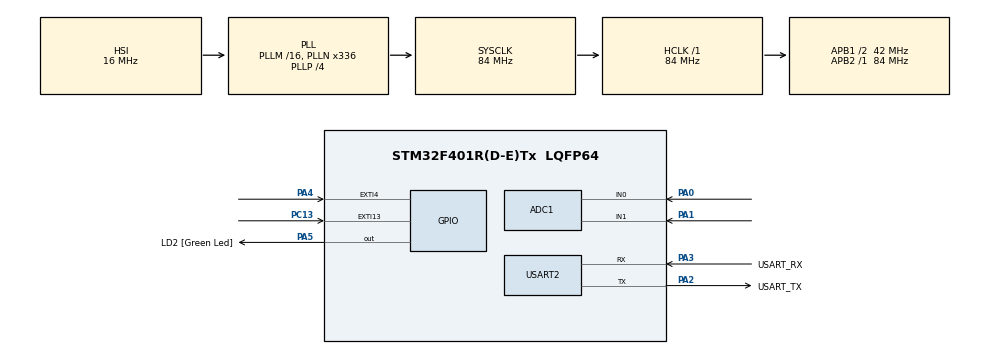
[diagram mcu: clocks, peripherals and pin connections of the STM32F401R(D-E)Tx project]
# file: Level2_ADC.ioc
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ADC1.Channel-0\#ChannelRegularConversion=ADC_CHANNEL_0
ADC1.Channel-1\#ChannelRegularConversion=ADC_CHANNEL_1
ADC1.EOCSelection=ADC_EOC_SEQ_CONV
ADC1.NbrOfConversion=2
ADC1.NbrOfConversionFlag=1
ADC1.Rank-0\#ChannelRegularConversion=1
ADC1.Rank-1\#ChannelRegularConversion=2
ADC1.SamplingTime-0\#ChannelRegularConversion=ADC_SAMPLETIME_3CYCLES
ADC1.SamplingTime-1\#ChannelRegularConversion=ADC_SAMPLETIME_3CYCLES
ADC1.ScanConvMode=ENABLE
ADC1.master=1
Dma.ADC1.0.Direction=DMA_PERIPH_TO_MEMORY
Dma.ADC1.0.FIFOMode=DMA_FIFOMODE_DISABLE
Dma.ADC1.0.Instance=DMA2_Stream0
Dma.ADC1.0.MemDataAlignment=DMA_MDATAALIGN_HALFWORD
Dma.ADC1.0.MemInc=DMA_MINC_ENABLE
Dma.ADC1.0.Mode=DMA_NORMAL
Dma.ADC1.0.PeriphDataAlignment=DMA_PDATAALIGN_HALFWORD
Dma.ADC1.0.PeriphInc=DMA_PINC_DISABLE
Dma.ADC1.0.Priority=DMA_PRIORITY_LOW
Dma.Request0=ADC1
Mcu.Family=STM32F4
Mcu.Name=STM32F401R(D-E)Tx
Mcu.Package=LQFP64
NVIC.DMA2_Stream0_IRQn=true\:0\:0\:false\:false\:true\:false\:true\:true
NVIC.EXTI15_10_IRQn=true\:0\:0\:false\:false\:true\:true\:true\:true
NVIC.EXTI4_IRQn=true\:0\:0\:false\:false\:true\:true\:true\:true
NVIC.PriorityGroup=NVIC_PRIORITYGROUP_0
PA0-WKUP.Signal=ADCx_IN0
PA1.Signal=ADCx_IN1
PA13.GPIO_Label=TMS
PA13.Signal=SYS_JTMS-SWDIO
PA14.GPIO_Label=TCK
PA14.Signal=SYS_JTCK-SWCLK
PA2.GPIO_Label=USART_TX
PA2.GPIO_Mode=GPIO_MODE_AF_PP
PA2.GPIO_PuPd=GPIO_NOPULL
PA2.GPIO_Speed=GPIO_SPEED_FREQ_LOW
PA2.Mode=Asynchronous
PA2.Signal=USART2_TX
PA3.GPIO_Label=USART_RX
PA3.GPIO_Mode=GPIO_MODE_AF_PP
PA3.GPIO_PuPd=GPIO_NOPULL
PA3.GPIO_Speed=GPIO_SPEED_FREQ_LOW
PA3.Mode=Asynchronous
PA3.Signal=USART2_RX
PA4.Signal=GPXTI4
PA5.GPIO_Label=LD2 [Green Led]
PA5.GPIO_Mode=GPIO_MODE_OUTPUT_PP
PA5.GPIO_PuPd=GPIO_NOPULL
PA5.GPIO_Speed=GPIO_SPEED_FREQ_LOW
PA5.Signal=GPIO_Output
PB3.GPIO_Label=SWO
PB3.Signal=SYS_JTDO-SWO
PC13-ANTI_TAMP.Signal=GPXTI13
PC14-OSC32_IN.Signal=RCC_OSC32_IN
PC15-OSC32_OUT.Signal=RCC_OSC32_OUT
PH0\ -\ OSC_IN.Signal=RCC_OSC_IN
PH1\ -\ OSC_OUT.Signal=RCC_OSC_OUT
ProjectManager.HeapSize=0x200
ProjectManager.StackSize=0x400
ProjectManager.TargetToolchain=STM32CubeIDE
RCC.AHBFreq_Value=84000000
RCC.APB1CLKDivider=RCC_HCLK_DIV2
RCC.APB1Freq_Value=42000000
RCC.APB1TimFreq_Value=84000000
RCC.APB2Freq_Value=84000000
RCC.APB2TimFreq_Value=84000000
RCC.CortexFreq_Value=84000000
RCC.HCLKFreq_Value=84000000
RCC.HSE_VALUE=8000000
RCC.HSI_VALUE=16000000
RCC.LSE_VALUE=32768
RCC.PLLN=336
RCC.PLLP=RCC_PLLP_DIV4
RCC.PLLQ=7
RCC.SYSCLKFreq_VALUE=84000000
RCC.SYSCLKSource=RCC_SYSCLKSOURCE_PLLCLK
RCC.VCOOutputFreq_Value=336000000
SH.ADCx_IN0.0=ADC1_IN0,IN0
SH.ADCx_IN1.0=ADC1_IN1,IN1
USART2.VirtualMode=VM_ASYNC
board=NUCLEO-F401RE

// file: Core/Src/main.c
/* USER CODE BEGIN Header */
/**
  ******************************************************************************
  * @file           : main.c
  * @brief          : Main program body
  ******************************************************************************
  * @attention
  *
  * Copyright (c) 2026 STMicroelectronics.
  * All rights reserved.
  *
  * This software is licensed under terms that can be found in the LICENSE file
  * in the root directory of this software component.
  * If no LICENSE file comes with this software, it is provided AS-IS.
  *
  ******************************************************************************
  */
/* USER CODE END Header */
#include "main.h"

/* USER CODE BEGIN Includes */
#include "string.h"
#include "stdio.h"
/* USER CODE END Includes */

ADC_HandleTypeDef hadc1;
DMA_HandleTypeDef hdma_adc1;

UART_HandleTypeDef huart2;

void SystemClock_Config(void);
static void MX_GPIO_Init(void);
static void MX_DMA_Init(void);
static void MX_ADC1_Init(void);
static void MX_USART2_UART_Init(void);

/* USER CODE BEGIN 0 */
uint8_t read = 0x00 , scan = 0x00;
/* USER CODE END 0 */

int main(void)
{

  /* MCU Configuration--------------------------------------------------------*/

  /* Reset of all peripherals, Initializes the Flash interface and the Systick. */
  HAL_Init();

  /* Configure the system clock */
  SystemClock_Config();

  /* Initialize all configured peripherals */
  MX_GPIO_Init();
  MX_DMA_Init();
  MX_ADC1_Init();
  MX_USART2_UART_Init();
  /* USER CODE BEGIN 2 */
  char msg[] = "Reading joystick...\n\r";
  uint16_t result = 0x0000;
  uint16_t adc_result[2];
  /* USER CODE END 2 */

  /* Infinite loop */
  while (1)
  {

    /* USER CODE BEGIN 3 */
	/*  if (read){
		  HAL_GPIO_TogglePin(GPIOA, GPIO_PIN_5);
		  HAL_UART_Transmit(&huart2, (uint8_t *)msg, strlen(msg), HAL_MAX_DELAY);

		  HAL_ADC_Start(&hadc1);
		  if (HAL_ADC_PollForConversion(&hadc1, HAL_MAX_DELAY) == HAL_OK){
			  result = HAL_ADC_GetValue(&hadc1);
		  }
		  //HAL_UART_Transmit(&huart2, (uint8_t *)&result, 1, HAL_MAX_DELAY);
		  char buffer[50];
		  int len = sprintf(buffer, "ADC VALUE: %u\r\n", result);
		  HAL_UART_Transmit(&huart2, (uint8_t *)buffer, len, HAL_MAX_DELAY);

		  read = 0x00;
	  }
	  */

	  if (scan){
		  HAL_GPIO_TogglePin(GPIOA, GPIO_PIN_5);
		  HAL_UART_Transmit(&huart2, (uint8_t *)msg, strlen(msg), 100);
		  char buffer[50];

		  HAL_ADC_Start_DMA(&hadc1, (uint32_t *)adc_result, 2);
		  int len = sprintf(buffer, "X: %u, Y: %u\r\n", adc_result[0], adc_result[1]);
		  HAL_UART_Transmit(&huart2, (uint8_t *)buffer, len, HAL_MAX_DELAY);
		  HAL_Delay(10);

	  }

  }
  /* USER CODE END 3 */
}

void SystemClock_Config(void)
{
  RCC_OscInitTypeDef RCC_OscInitStruct = {0};
  RCC_ClkInitTypeDef RCC_ClkInitStruct = {0};

  /** Configure the main internal regulator output voltage
  */
  __HAL_RCC_PWR_CLK_ENABLE();
  __HAL_PWR_VOLTAGESCALING_CONFIG(PWR_REGULATOR_VOLTAGE_SCALE2);

  /** Initializes the RCC Oscillators according to the specified parameters
  * in the RCC_OscInitTypeDef structure.
  */
  RCC_OscInitStruct.OscillatorType = RCC_OSCILLATORTYPE_HSI;
  RCC_OscInitStruct.HSIState = RCC_HSI_ON;
  RCC_OscInitStruct.HSICalibrationValue = RCC_HSICALIBRATION_DEFAULT;
  RCC_OscInitStruct.PLL.PLLState = RCC_PLL_ON;
  RCC_OscInitStruct.PLL.PLLSource = RCC_PLLSOURCE_HSI;
  RCC_OscInitStruct.PLL.PLLM = 16;
  RCC_OscInitStruct.PLL.PLLN = 336;
  RCC_OscInitStruct.PLL.PLLP = RCC_PLLP_DIV4;
  RCC_OscInitStruct.PLL.PLLQ = 7;
  if (HAL_RCC_OscConfig(&RCC_OscInitStruct) != HAL_OK)
  {
    Error_Handler();
  }

  /** Initializes the CPU, AHB and APB buses clocks
  */
  RCC_ClkInitStruct.ClockType = RCC_CLOCKTYPE_HCLK|RCC_CLOCKTYPE_SYSCLK
                              |RCC_CLOCKTYPE_PCLK1|RCC_CLOCKTYPE_PCLK2;
  RCC_ClkInitStruct.SYSCLKSource = RCC_SYSCLKSOURCE_PLLCLK;
  RCC_ClkInitStruct.AHBCLKDivider = RCC_SYSCLK_DIV1;
  RCC_ClkInitStruct.APB1CLKDivider = RCC_HCLK_DIV2;
  RCC_ClkInitStruct.APB2CLKDivider = RCC_HCLK_DIV1;

  if (HAL_RCC_ClockConfig(&RCC_ClkInitStruct, FLASH_LATENCY_2) != HAL_OK)
  {
    Error_Handler();
  }
}

static void MX_ADC1_Init(void)
{

  ADC_ChannelConfTypeDef sConfig = {0};

  /** Configure the global features of the ADC (Clock, Resolution, Data Alignment and number of conversion)
  */
  hadc1.Instance = ADC1;
  hadc1.Init.ClockPrescaler = ADC_CLOCK_SYNC_PCLK_DIV4;
  hadc1.Init.Resolution = ADC_RESOLUTION_12B;
  hadc1.Init.ScanConvMode = ENABLE;
  hadc1.Init.ContinuousConvMode = DISABLE;
  hadc1.Init.DiscontinuousConvMode = DISABLE;
  hadc1.Init.ExternalTrigConvEdge = ADC_EXTERNALTRIGCONVEDGE_NONE;
  hadc1.Init.ExternalTrigConv = ADC_SOFTWARE_START;
  hadc1.Init.DataAlign = ADC_DATAALIGN_RIGHT;
  hadc1.Init.NbrOfConversion = 2;
  hadc1.Init.DMAContinuousRequests = DISABLE;
  hadc1.Init.EOCSelection = ADC_EOC_SEQ_CONV;
  if (HAL_ADC_Init(&hadc1) != HAL_OK)
  {
    Error_Handler();
  }

  /** Configure for the selected ADC regular channel its corresponding rank in the sequencer and its sample time.
  */
  sConfig.Channel = ADC_CHANNEL_0;
  sConfig.Rank = 1;
  sConfig.SamplingTime = ADC_SAMPLETIME_3CYCLES;
  if (HAL_ADC_ConfigChannel(&hadc1, &sConfig) != HAL_OK)
  {
    Error_Handler();
  }

  /** Configure for the selected ADC regular channel its corresponding rank in the sequencer and its sample time.
  */
  sConfig.Channel = ADC_CHANNEL_1;
  sConfig.Rank = 2;
  if (HAL_ADC_ConfigChannel(&hadc1, &sConfig) != HAL_OK)
  {
    Error_Handler();
  }

}

static void MX_USART2_UART_Init(void)
{

  huart2.Instance = USART2;
  huart2.Init.BaudRate = 115200;
  huart2.Init.WordLength = UART_WORDLENGTH_8B;
  huart2.Init.StopBits = UART_STOPBITS_1;
  huart2.Init.Parity = UART_PARITY_NONE;
  huart2.Init.Mode = UART_MODE_TX_RX;
  huart2.Init.HwFlowCtl = UART_HWCONTROL_NONE;
  huart2.Init.OverSampling = UART_OVERSAMPLING_16;
  if (HAL_UART_Init(&huart2) != HAL_OK)
  {
    Error_Handler();
  }

}

static void MX_DMA_Init(void)
{

  /* DMA controller clock enable */
  __HAL_RCC_DMA2_CLK_ENABLE();

  /* DMA interrupt init */
  /* DMA2_Stream0_IRQn interrupt configuration */
  HAL_NVIC_SetPriority(DMA2_Stream0_IRQn, 0, 0);
  HAL_NVIC_EnableIRQ(DMA2_Stream0_IRQn);

}

static void MX_GPIO_Init(void)
{
  GPIO_InitTypeDef GPIO_InitStruct = {0};

  /* GPIO Ports Clock Enable */
  __HAL_RCC_GPIOC_CLK_ENABLE();
  __HAL_RCC_GPIOH_CLK_ENABLE();
  __HAL_RCC_GPIOA_CLK_ENABLE();
  __HAL_RCC_GPIOB_CLK_ENABLE();

  /*Configure GPIO pin Output Level */
  HAL_GPIO_WritePin(LD2_GPIO_Port, LD2_Pin, GPIO_PIN_RESET);

  /*Configure GPIO pin : PC13 */
  GPIO_InitStruct.Pin = GPIO_PIN_13;
  GPIO_InitStruct.Mode = GPIO_MODE_IT_FALLING;
  GPIO_InitStruct.Pull = GPIO_NOPULL;
  HAL_GPIO_Init(GPIOC, &GPIO_InitStruct);

  /*Configure GPIO pin : PA4 */
  GPIO_InitStruct.Pin = GPIO_PIN_4;
  GPIO_InitStruct.Mode = GPIO_MODE_IT_RISING;
  GPIO_InitStruct.Pull = GPIO_NOPULL;
  HAL_GPIO_Init(GPIOA, &GPIO_InitStruct);

  /*Configure GPIO pin : LD2_Pin */
  GPIO_InitStruct.Pin = LD2_Pin;
  GPIO_InitStruct.Mode = GPIO_MODE_OUTPUT_PP;
  GPIO_InitStruct.Pull = GPIO_NOPULL;
  GPIO_InitStruct.Speed = GPIO_SPEED_FREQ_LOW;
  HAL_GPIO_Init(LD2_GPIO_Port, &GPIO_InitStruct);

  /* EXTI interrupt init*/
  HAL_NVIC_SetPriority(EXTI4_IRQn, 0, 0);
  HAL_NVIC_EnableIRQ(EXTI4_IRQn);

  HAL_NVIC_SetPriority(EXTI15_10_IRQn, 0, 0);
  HAL_NVIC_EnableIRQ(EXTI15_10_IRQn);

}

/* USER CODE BEGIN 4 */
void HAL_GPIO_EXTI_Callback(uint16_t GPIO_Pin){
	if (GPIO_Pin == GPIO_PIN_13){
		read = (read==0x01) ? 0x00: 0x01;
	}

	if (GPIO_Pin == GPIO_PIN_4){
			scan = (scan==0x01) ? 0x00: 0x01;
		}
}
/* USER CODE END 4 */

void Error_Handler(void)
{
  __disable_irq();
  while (1)
  {
  }
}
